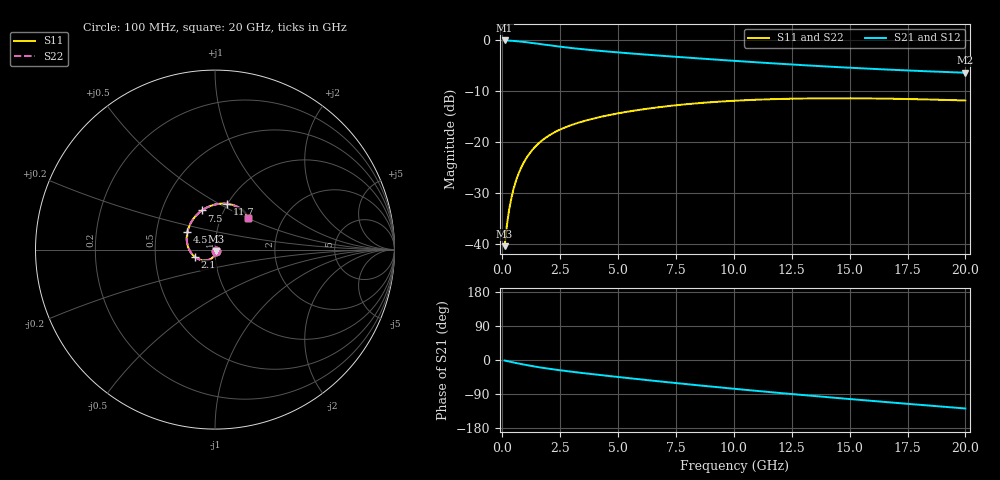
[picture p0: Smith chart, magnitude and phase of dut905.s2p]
! Touchstone file exported from HFSS 2024.1.0
!  File:  C:/UserFiles/LocalFiles/RDL_TSV_Batchsim/temp_RDL_TSV_905_1779954533.aedt
!  Generated:  04:01:48 PM May 28, 2026
!  Design:  RDL_TSV
!  Project:  temp_RDL_TSV_905_1779954533
!  Setup:  Setup1
!  Solution:  Sweep
! Variables:
!  dtsv = 12.73um
!  hbump = 3um
!  htsv = 84.18um
!  ldown = 151.8um
!  lrdl = 255.64um
!  p = 40
!  p1 = 49.05um
!  rhole = 10um
!  subl = 1477.96um
!  t = 450um
!  tdown = 2.67um
!  trdl = 4.87um
!  viad = 10um
!  wdown = 19.3um
!  wrdl = 27.93um
!  xbump = 18um
# GHz S MA R 50.000000
! Terminal data exported
! Port[1] = TM1_1_T1
! Port[2] = TM1_4_T1
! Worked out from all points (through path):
!   200 points, 100 MHz to 20 GHz, reference 50 ohm
!   highest |S21| = -0.06 dB at 100 MHz (marker M1); lowest = -6.4 dB at 20 GHz (marker M2)
!   group delay of S21, straight-line fit = 16.6 ps
!   lowest |S11| = -40.4 dB at 100 MHz (marker M3), VSWR 1.02, Z = 50.6 - j0.731 ohm
!   |S11| at or under -10 dB: start of sweep to end of sweep
!   |S22| runs from -40.4 to -11.4 dB; largest |S21 - S12| = 1.5e-13
!   S11 on the Smith chart (normalised r, x): 100 MHz: 1.01, -0.01; 2.1 GHz: 0.80, -0.07; 4.5 GHz: 0.72, +0.15; 7.5 GHz: 0.79, +0.36; 11.7 GHz: 1.00, +0.55; 20 GHz: 1.34, +0.51
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0.1  0.00957 -49.0  0.9928 -1.4  0.9928 -1.4  0.00957 -49.0
! Gamma 0 0 0 0
! Port Impedance 50 0 50 0
0.2  0.01544 -70.6  0.9912 -2.8  0.9912 -2.8  0.01544 -70.6
0.3  0.02207 -82.4  0.9888 -4.1  0.9888 -4.1  0.02207 -82.4
0.4  0.02889 -90.7  0.9857 -5.5  0.9857 -5.5  0.02889 -90.7
0.5  0.03569 -97.4  0.9819 -6.8  0.9819 -6.8  0.03569 -97.4
0.7  0.04895 -108.3  0.9729 -9.3  0.9729 -9.3  0.04895 -108.3
0.8  0.05533 -113.1  0.9677 -10.5  0.9677 -10.5  0.05533 -113.1
1  0.06747 -122.0  0.9563 -12.9  0.9563 -12.9  0.06747 -121.9
1.3  0.08406 -133.8  0.9376 -16.2  0.9376 -16.2  0.08405 -133.8
1.7  0.1032 -147.7  0.9115 -20.2  0.9115 -20.2  0.1032 -147.7
2.1  0.1193 -159.9  0.8861 -23.8  0.8861 -23.8  0.1193 -159.9
2.7  0.1391 -176.0  0.8518 -28.7  0.8518 -28.7  0.1391 -175.9
3.5  0.1604 166.1  0.8135 -34.6  0.8135 -34.6  0.1603 166.1
4.5  0.1821 147.7  0.7747 -41.5  0.7747 -41.5  0.182 147.7
5.6  0.2022 131.1  0.7391 -48.8  0.7391 -48.8  0.2021 131.1
6.8  0.2208 116.0  0.7048 -56.5  0.7048 -56.5  0.2206 116.1
7.5  0.2301 108.5  0.6863 -60.9  0.6863 -60.9  0.2299 108.5
10.1  0.2553 85.7  0.6248 -76.5  0.6248 -76.5  0.255 85.8
11.7  0.2641 75.0  0.5921 -85.5  0.5921 -85.5  0.2638 75.0
13.4  0.2687 65.7  0.5615 -94.7  0.5615 -94.7  0.2683 65.7
16.7  0.2668 52.2  0.5138 -111.7  0.5138 -111.7  0.2665 52.2
20  0.2562 43.7  0.4792 -128.0  0.4792 -128.0  0.2559 43.7
